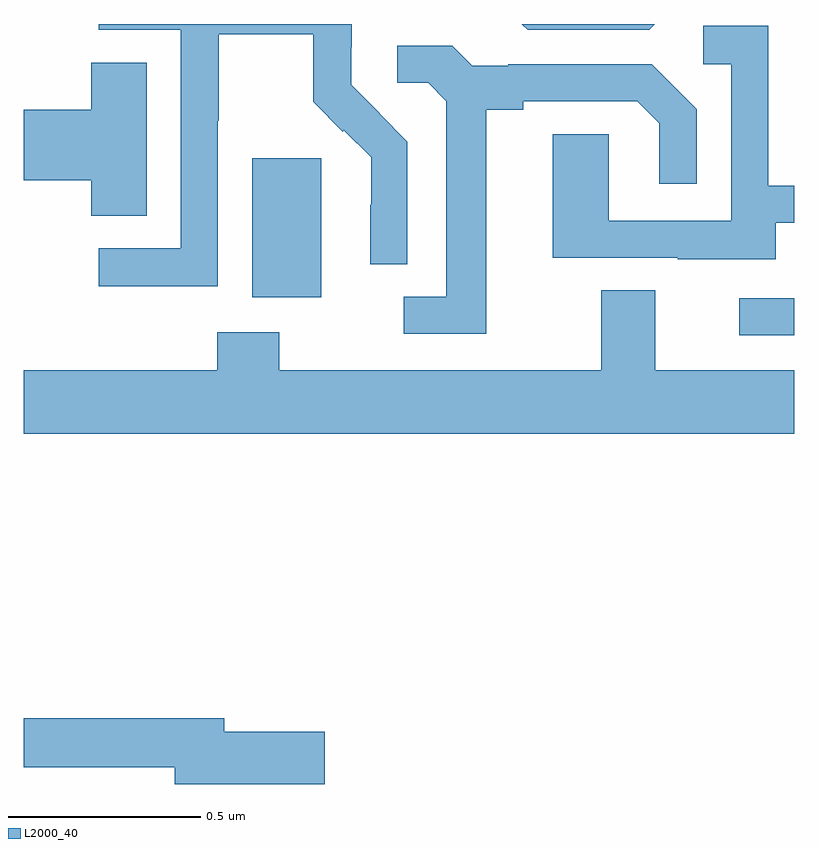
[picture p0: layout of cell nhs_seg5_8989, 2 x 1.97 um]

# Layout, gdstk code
import gdstk
lib = gdstk.Library(unit=1e-6, precision=1e-09)
def R(c, l, rs):  # rectangles x0, y0, x1, y1
    for r in rs: c.add(gdstk.rectangle(r[:2], r[2:], *l))
def P(c, l, *ps):  # polygons
    for p in ps: c.add(gdstk.Polygon(p, *l))
L2000_40 = (2000, 40)

nhs_seg5_8989 = lib.new_cell('nhs_seg5_8989')
R(nhs_seg5_8989, L2000_40, [(229.857,880.992,230,881.088), (228.593,881.09,228.772,881.451)])
P(nhs_seg5_8989, L2000_40, [(228.504,881.548),(228.507,881.548),(228.507,881.772),(228.751,881.772),(228.751,881.597),(228.828,881.52),(228.831,881.523),(228.902,881.453),(228.902,881.33),(228.9,881.33),(228.9,881.176),(228.996,881.176),(228.996,881.494),(228.923,881.567),(228.924,881.568),(228.85,881.642),(228.85,881.739),(228.852,881.739),(228.852,881.799),(228.195,881.799),(228.195,881.784),(228.408,881.784),(228.408,881.217),(228.195,881.217),(228.195,881.119),(228.504,881.119)],
  [(229.638,881.799),(229.293,881.799),(229.308,881.784),(229.623,881.784)],
  [(229.951,881.283),(230,881.283),(230,881.379),(229.932,881.379),(229.932,881.795),(229.764,881.795),(229.764,881.694),(229.836,881.694),(229.836,881.289),(229.518,881.289),(229.518,881.513),(229.373,881.513),(229.373,881.193),(229.697,881.193),(229.697,881.189),(229.951,881.189)],
  [(229.201,881.576),(229.297,881.576),(229.297,881.598),(229.592,881.598),(229.649,881.541),(229.649,881.385),(229.746,881.385),(229.746,881.578),(229.63,881.694),(229.258,881.694),(229.258,881.691),(229.164,881.691),(229.112,881.743),(228.969,881.743),(228.969,881.646),(229.05,881.646),(229.097,881.599),(229.097,881.091),(228.987,881.091),(228.987,880.995),(229.201,880.995)],
  [(228.319,881.699),(228.176,881.699),(228.176,881.576),(228,881.576),(228,881.393),(228.176,881.393),(228.176,881.302),(228.319,881.302)],
  [(230,880.9),(229.639,880.9),(229.639,881.108),(229.499,881.108),(229.499,880.9),(228.663,880.9),(228.663,880.999),(228.503,880.999),(228.503,880.9),(228,880.9),(228,880.736),(230,880.736)],
  [(228.781,879.962),(228.52,879.962),(228.52,879.998),(228,879.998),(228,879.87),(228.392,879.87),(228.392,879.827),(228.781,879.827)])

lib.write_gds('nhs_seg5_8989.gds')
